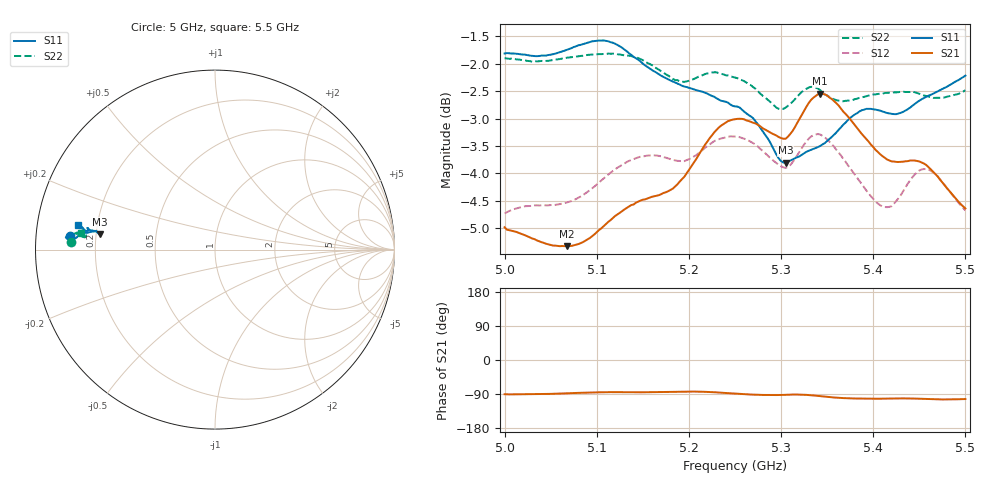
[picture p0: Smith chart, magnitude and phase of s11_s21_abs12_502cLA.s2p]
! MS46122B
! 1919307/90821646
! 6/10/2022 12:22:41 PM
! C:\USERS\PC_\DESKTOP\CARACTERIZACION\MEDICIONES\BANCHA ESTRECHA\5_55GHZ\S11_S21_ABS12_502CL.S2P
! CHANNEL.1
! TR.MEASUREMENT
! CORRECTED.DATA
# GHZ S RI R 50.0
! FREQ.GHZ  S11RE  S11IM  S21RE  S21IM  S12RE  S12IM  S22RE  S22IM
!; PortSelection: Port_12
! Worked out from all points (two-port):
!   201 points, 5 GHz to 5.5 GHz, reference 50 ohm
!   highest |S21| = -2.55 dB at 5.343 GHz (marker M1); lowest = -5.3 dB at 5.067 GHz (marker M2)
!   |S21| within 3 dB of the highest: start of sweep to end of sweep
!   lowest |S11| = -3.8 dB at 5.305 GHz (marker M3), VSWR 4.64, Z = 10.8 + j3.15 ohm
!   |S11| at or under -10 dB: nowhere
!   |S22| runs from -2.8 to -1.8 dB; largest |S21 - S12| = 0.084
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5  -0.8079 0.0733  -0.00276 -0.5637  0.053 -0.5778  -0.8021 0.0437
5.0325  -0.8039 0.0702  -0.0024 -0.5497  0.0468 -0.5882  -0.7967 0.0476
5.0675  -0.8138 0.0772  0.0199 -0.5414  0.0508 -0.5915  -0.8021 0.0571
5.085  -0.8241 0.074  0.035 -0.5452  0.0561 -0.6003  -0.8051 0.061
5.1175  -0.8274 0.0626  0.0518 -0.5724  0.0538 -0.632  -0.8084 0.0646
5.1675  -0.7738 0.0654  0.0528 -0.6006  0.0145 -0.6544  -0.7789 0.0906
5.1925  -0.7532 0.0869  0.0698 -0.6196  0.00969 -0.647  -0.7591 0.0931
5.215  -0.7417 0.1022  0.0723 -0.6611  0.0112 -0.6628  -0.7709 0.0836
5.25  -0.7201 0.0928  0.0149 -0.7068  -0.0302 -0.6809  -0.7662 0.0876
5.28  -0.6822 0.1003  -0.027 -0.6931  -0.0605 -0.6589  -0.7371 0.0902
5.305  -0.6397 0.0848  -0.0216 -0.6783  -0.0454 -0.6367  -0.7209 0.0705
5.32  -0.6481 0.0883  -0.0164 -0.7071  -0.0349 -0.6594  -0.7414 0.0733
5.335  -0.6566 0.0998  -0.0451 -0.7381  -0.0598 -0.6808  -0.7503 0.0957
5.3425  -0.6604 0.1031  -0.0706 -0.7425  -0.0783 -0.6801  -0.744 0.1032
5.3575  -0.6762 0.1045  -0.1145 -0.7253  -0.105 -0.659  -0.7307 0.0968
5.3775  -0.7025 0.1125  -0.1392 -0.6887  -0.1142 -0.6234  -0.7317 0.0789
5.4025  -0.7111 0.1207  -0.1393 -0.6481  -0.0922 -0.5877  -0.7407 0.0772
5.4175  -0.706 0.1158  -0.1323 -0.6347  -0.0665 -0.5845  -0.7423 0.0842
5.4375  -0.7143 0.1043  -0.1275 -0.6347  -0.0495 -0.6157  -0.7417 0.0994
5.455  -0.7304 0.1131  -0.1423 -0.6283  -0.0736 -0.6325  -0.7345 0.1112
5.4775  -0.7439 0.1281  -0.1496 -0.5971  -0.1016 -0.6075  -0.7326 0.1034
5.5  -0.7624 0.1364  -0.1322 -0.5712  -0.0883 -0.5772  -0.7456 0.0908
